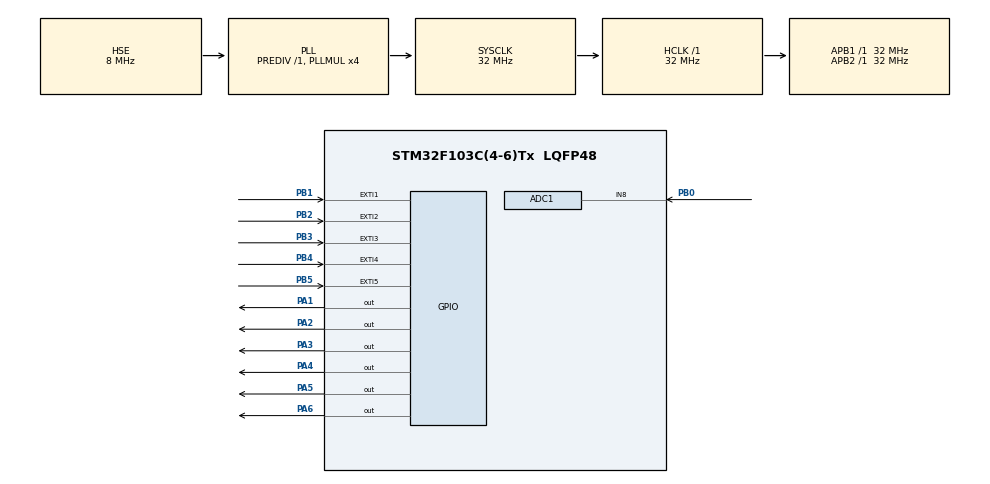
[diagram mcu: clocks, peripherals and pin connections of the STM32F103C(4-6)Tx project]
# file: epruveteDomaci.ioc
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ADC1.Channel-0\#ChannelRegularConversion=ADC_CHANNEL_8
ADC1.NbrOfConversionFlag=1
ADC1.Rank-0\#ChannelRegularConversion=1
ADC1.SamplingTime-0\#ChannelRegularConversion=ADC_SAMPLETIME_1CYCLE_5
ADC1.master=1
Mcu.Family=STM32F1
Mcu.Name=STM32F103C(4-6)Tx
Mcu.Package=LQFP48
NVIC.EXTI1_IRQn=true\:0\:0\:false\:false\:true\:true\:true\:true
NVIC.EXTI2_IRQn=true\:0\:0\:false\:false\:true\:true\:true\:true
NVIC.EXTI3_IRQn=true\:0\:0\:false\:false\:true\:true\:true\:true
NVIC.EXTI4_IRQn=true\:0\:0\:false\:false\:true\:true\:true\:true
NVIC.EXTI9_5_IRQn=true\:0\:0\:false\:false\:true\:true\:true\:true
NVIC.PriorityGroup=NVIC_PRIORITYGROUP_4
NVIC.TIM2_IRQn=true\:0\:0\:false\:false\:true\:true\:true\:true
NVIC.TIM3_IRQn=true\:0\:0\:false\:false\:true\:true\:true\:true
PA1.Signal=GPIO_Output
PA2.Signal=GPIO_Output
PA3.Signal=GPIO_Output
PA4.Signal=GPIO_Output
PA5.Signal=GPIO_Output
PA6.Signal=GPIO_Output
PB0.Signal=ADCx_IN8
PB1.Signal=GPXTI1
PB2.Signal=GPXTI2
PB3.Signal=GPXTI3
PB4.Signal=GPXTI4
PB5.Signal=GPXTI5
PD0-OSC_IN.Mode=HSE-External-Oscillator
PD0-OSC_IN.Signal=RCC_OSC_IN
PD1-OSC_OUT.Mode=HSE-External-Oscillator
PD1-OSC_OUT.Signal=RCC_OSC_OUT
ProjectManager.HeapSize=0x200
ProjectManager.StackSize=0x400
ProjectManager.TargetToolchain=STM32CubeIDE
RCC.ADCPresc=RCC_ADCPCLK2_DIV4
RCC.AHBFreq_Value=32000000
RCC.APB1Freq_Value=32000000
RCC.APB1TimFreq_Value=32000000
RCC.APB2Freq_Value=32000000
RCC.APB2TimFreq_Value=32000000
RCC.HCLKFreq_Value=32000000
RCC.PLLMUL=RCC_PLL_MUL4
RCC.PLLSourceVirtual=RCC_PLLSOURCE_HSE
RCC.SYSCLKFreq_VALUE=32000000
RCC.SYSCLKSource=RCC_SYSCLKSOURCE_PLLCLK
RCC.USBFreq_Value=32000000
SH.ADCx_IN8.0=ADC1_IN8,IN8
TIM2.AutoReloadPreload=TIM_AUTORELOAD_PRELOAD_ENABLE
TIM2.Period=1
TIM2.Prescaler=39
TIM3.AutoReloadPreload=TIM_AUTORELOAD_PRELOAD_ENABLE
TIM3.Period=6400
TIM3.Prescaler=10000
VP_TIM2_VS_ClockSourceINT.Mode=Internal
VP_TIM3_VS_ClockSourceINT.Mode=Internal
board=custom

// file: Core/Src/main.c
/* USER CODE BEGIN Header */
/**
  ******************************************************************************
  * @file           : main.c
  * @brief          : Main program body
  ******************************************************************************
  * @attention
  *
  * Copyright (c) 2023 STMicroelectronics.
  * All rights reserved.
  *
  * This software is licensed under terms that can be found in the LICENSE file
  * in the root directory of this software component.
  * If no LICENSE file comes with this software, it is provided AS-IS.
  *
  ******************************************************************************
  */
/* USER CODE END Header */
#include "main.h"

/* USER CODE BEGIN Includes */
#include "math.h"
/* USER CODE END Includes */

/* USER CODE BEGIN PD */
/*Pins redefinition*/
#define PLS1 GPIO_PIN_1
#define DIR1 GPIO_PIN_2
#define ENA1 GPIO_PIN_3
#define PLS2 GPIO_PIN_4
#define DIR2 GPIO_PIN_5
#define ENA2 GPIO_PIN_6

/*ADC related defines*/
#define ADC_RESOLUTION pow(2,12)
#define V_REF 3.3 //This is VDDA maximum VREF voltage according to datasheet

#define NUM_OF_EPRUVETE 10

/*For a 50 mm length, and 5mm per slot => 10*/
#define NUMBER_OF_SLOTS 10
/* USER CODE END PD */

ADC_HandleTypeDef hadc1;

TIM_HandleTypeDef htim2;
TIM_HandleTypeDef htim3;

/* USER CODE BEGIN PV */
enum Estate
{
	idle,
	heating,
	calibrating,
	locating,
	shifting
};

enum EtimerTask
{
	heatM_1,
	calibrateM_1,
	locateM_1CW,
	locateM_1CCW,
	M_2
};
enum Estate state=idle;
enum EtimerTask task;

/* Unesite zeljenu temperaturu*/
int userTemp=50;

int epr;

int arr[]={0,0,3,0,4,0,0,3,0,3};
int dirTemp=1;
int timerStarted=0;

int positionM2=0;
int position=0;
int toggleCounter=0;
int adcSemaphore=0;

int nearest=0;
int current=0;
int resetM_2=0;

/* USER CODE END PV */

void SystemClock_Config(void);
static void MX_GPIO_Init(void);
static void MX_ADC1_Init(void);
static void MX_TIM2_Init(void);
static void MX_TIM3_Init(void);

/* USER CODE BEGIN 0 */

/*Finding the closest in array related functions*/
int findClosest(int current,int epruveta, int* arr)
{
    int cLeft=current;
    int cRight=current;
    int moveTo=0;
    while(1)
        {
            if (arr[cLeft]==epruveta)
            {
                moveTo=cLeft;
                break;
            }
            else
            {
                cLeft--;
                cRight++;
                if (cLeft<0)
                    cLeft=NUM_OF_EPRUVETE-1;
                if (cRight>NUM_OF_EPRUVETE-1)
                    cRight=0;
                if (arr[cLeft]==epruveta)
                {
                    moveTo=cLeft;
                    break;
                }
                if (arr[cRight]==epruveta)
                {
                    moveTo=cRight;
                    break;
                }
            }
        }
    return moveTo;
}
int existsEpruveta(int epruveta,int *arr)
{
    for(int i=0; i< NUM_OF_EPRUVETE-1; i++)
        if(arr[i]==epruveta)
            return 0;
    return 1;
}
int doCCW(int current,int nearest)
{
    int distanceLeft=(current-nearest+NUM_OF_EPRUVETE)%NUM_OF_EPRUVETE;
    int distanceRight=(nearest-current+NUM_OF_EPRUVETE)%NUM_OF_EPRUVETE;
    if(distanceRight>distanceLeft)
        return 1;
    return 0;
}

double convertAdcToVolts(double adcVal)
{
	return adcVal*(V_REF/ADC_RESOLUTION);
}
double convertToCelsius(double V)
{
	return V*100;
}
void startMotor(int Dir,int motor)
{
	switch(motor)
	{
		case 1:
			HAL_GPIO_WritePin(GPIOA,ENA1|PLS1,GPIO_PIN_SET);
			HAL_Delay(3001); //ENA set at least 3s before seting the direction
			HAL_GPIO_WritePin(GPIOA,DIR1,Dir);
			HAL_Delay(1); //Dir set at least 5 microSec before falling edge of PULSE
			HAL_GPIO_WritePin(GPIOA,PLS1,GPIO_PIN_RESET);
			break;
		case 2:
			HAL_GPIO_WritePin(GPIOA,ENA2|PLS2,GPIO_PIN_SET);
			HAL_Delay(3001); //ENA set at least 3s before seting the direction
			HAL_GPIO_WritePin(GPIOA,DIR2,Dir);
			HAL_Delay(1); //Dir set at least 5 microSec before falling edge of PULSE
			HAL_GPIO_WritePin(GPIOA,PLS2,GPIO_PIN_RESET);
			break;

	}
}
void disableMotor(int motor)
{
	switch(motor)
	{
		case 1:
			HAL_GPIO_WritePin(GPIOA,ENA1|PLS1|DIR1,GPIO_PIN_RESET);
			break;
		case 2:
			HAL_GPIO_WritePin(GPIOA,ENA2|PLS2|DIR2,GPIO_PIN_RESET);
			break;
	}
}
void changeDirection(int motor, int dir)
{
	switch(motor)
	{
		case 1:
			HAL_GPIO_WritePin(GPIOA,PLS1, GPIO_PIN_RESET);
			HAL_Delay(1);
			HAL_GPIO_WritePin(GPIOA,PLS1, GPIO_PIN_SET);
			position++;
			HAL_Delay(1);
			HAL_GPIO_WritePin(GPIOA,DIR1, GPIO_PIN_SET);
			break;
		case 2:
			HAL_GPIO_WritePin(GPIOA,PLS2, GPIO_PIN_RESET);
			HAL_Delay(1);
			HAL_GPIO_WritePin(GPIOA,PLS2, GPIO_PIN_SET);
			positionM2++;
			HAL_Delay(1);
			HAL_GPIO_WritePin(GPIOA,DIR2, GPIO_PIN_SET);
			break;
	}
}
void HAL_GPIO_EXTI_Callback(uint16_t GPIO_Pin)
{
	switch(GPIO_Pin)
	{
		case GPIO_PIN_1:
			epr=0;
			break;
		case GPIO_PIN_2:
			epr=1;
			break;
		case GPIO_PIN_3:
			epr=2;
			break;
		case GPIO_PIN_4:
			epr=3;
			break;
		case GPIO_PIN_5:
			epr=4;
			break;
	}
	//If somebody presses a button the motor one activates in heating mode only if there exists more tubes in the system.
	if(existsEpruveta(epr,arr) && (state==idle))
		state=heating;
}
void HAL_TIM_PeriodElapsedCallback(TIM_HandleTypeDef *htim)
{
	if(htim==&htim2)
	{
		switch(task)
		{
			case heatM_1:
				HAL_GPIO_TogglePin(GPIOA,PLS1);
				toggleCounter++;
				if(toggleCounter%2==1)
					position++;
				if(position==200)
					position=0;
				break;
			case calibrateM_1:
				HAL_GPIO_TogglePin(GPIOA,PLS1);
				toggleCounter++;
				if (dirTemp)
				{
					if(toggleCounter%2==1)
						position++;
				}
				else
				{
					if(toggleCounter%2==1)
						position--;
				}
				break;
			case locateM_1CW:
				HAL_GPIO_TogglePin(GPIOA,PLS1);
				toggleCounter++;
				if(toggleCounter%2==1)
					position++;
				if(position==200)
					position=0;
				break;
			case locateM_1CCW:
				HAL_GPIO_TogglePin(GPIOA,PLS1);
				toggleCounter++;
				if(toggleCounter%2==1)
					position--;
				if(position<0)
					position=199;
				break;
			case M_2:
				HAL_GPIO_TogglePin(GPIOA,PLS2);
				toggleCounter++;
				if(toggleCounter%2==1)
					positionM2++;
				break;
		}
	}
	else if(htim==&htim3)
	{
		adcSemaphore=1;
	}
}

void heat()
{
	int temp;
	if(!timerStarted)
	{
		task=heatM_1;
		startMotor(1, 1);
		HAL_TIM_Base_Start_IT(&htim2);
		HAL_TIM_Base_Start_IT(&htim3);
		timerStarted=1;
	}
	if(adcSemaphore)
	{
		HAL_ADC_Start(&hadc1);
		if(!(HAL_ADC_GetState(&hadc1) & HAL_ADC_STATE_BUSY))
		{
			int voltsRaw = HAL_ADC_GetValue(&hadc1);
			int volts=convertAdcToVolts(voltsRaw);
			temp =convertToCelsius(volts);
		}

		if(temp>userTemp)
		{
			HAL_TIM_Base_Stop_IT(&htim2);
			HAL_TIM_Base_Stop_IT(&htim3);
			toggleCounter=0;
			disableMotor(1);
			state=calibrating;
			timerStarted=0;
			temp=0;
		}
		adcSemaphore=0;
	}
}
void calibrate()
{
	if(!timerStarted)
	{
		task=calibrateM_1;
		if (position>100)
		{
			startMotor(1, 1);
			dirTemp=1;
		}
		else
		{
			startMotor(1, 0);
			dirTemp=0;
		}
		HAL_TIM_Base_Start_IT(&htim2);
		timerStarted=1;
	}

	if (position%200==0)
	{
		HAL_TIM_Base_Stop_IT(&htim2);
		disableMotor(1);
		timerStarted=0;
		toggleCounter=0;
		position=0;
		state=locating;
	}
}
void locate()
{
	 if(!timerStarted)
	 {
		current=position/20;
	 	nearest=findClosest(current,epr,arr);
	 	if(current==nearest)
	 	{
	 		state=shifting;
	 	}
	 	else
	 	{
	 		if(doCCW(current,nearest))
				{
					startMotor(1, 0);
					dirTemp=0;
					task=locateM_1CCW;
				}
				else
				{
					startMotor(1, 1);
					dirTemp=1;
					task=locateM_1CW;
				}
			HAL_TIM_Base_Start_IT(&htim2);
			timerStarted=1;
	 	}
	 }
	 if(position/20==nearest && position%20==0)
	 {
		HAL_TIM_Base_Stop_IT(&htim2);
		disableMotor(1);
		timerStarted=0;
		toggleCounter=0;
		arr[nearest]=-10;
		state=shifting;
	 }
}
void shift()
{
	if(!timerStarted)
	{
		task=M_2;
		startMotor(1, 2); //START M_2
		HAL_TIM_Base_Start_IT(&htim2);
		timerStarted=1;
	}

	if(positionM2==NUMBER_OF_SLOTS)
	{
		HAL_TIM_Base_Stop_IT(&htim2);
		changeDirection(2,0);
		positionM2--;
		toggleCounter=0;
		HAL_TIM_Base_Start_IT(&htim2);
		resetM_2=1;
		if(existsEpruveta(epr,arr))
			state=locating;
		else
			state=idle;
	}
	if(resetM_2)
	{
		if(positionM2==0)
		{
			HAL_TIM_Base_Stop_IT(&htim2);
			timerStarted=0;
			disableMotor(2);
			toggleCounter=0;
			resetM_2=0;
			if(existsEpruveta(epr,arr))
				state=locating;
			else
				state=idle;
		}

	}

}

/* USER CODE END 0 */

int main(void)
{

  /* MCU Configuration--------------------------------------------------------*/

  /* Reset of all peripherals, Initializes the Flash interface and the Systick. */
  HAL_Init();

  /* Configure the system clock */
  SystemClock_Config();

  /* Initialize all configured peripherals */
  MX_GPIO_Init();
  MX_ADC1_Init();
  MX_TIM2_Init();
  MX_TIM3_Init();
  /* USER CODE BEGIN 2 */
  // Calibrate The ADC On Power-Up For Better Accuracy
  HAL_ADCEx_Calibration_Start(&hadc1);
  /* USER CODE END 2 */

  /* Infinite loop */
  while (1)
    {
  	  switch(state)
  	  {
  		  case idle:
  			  //Here something else could be done
  			  break;
  		  case heating:
  			  heat();
  			  break;
  		  case calibrating:
  			  calibrate();
  			  break;
  		  case locating:
  			  locate();
  			  break;
  		  case shifting:
  			  shift();
  			  break;
  	  }
    }
}

void SystemClock_Config(void)
{
  RCC_OscInitTypeDef RCC_OscInitStruct = {0};
  RCC_ClkInitTypeDef RCC_ClkInitStruct = {0};
  RCC_PeriphCLKInitTypeDef PeriphClkInit = {0};

  /** Initializes the RCC Oscillators according to the specified parameters
  * in the RCC_OscInitTypeDef structure.
  */
  RCC_OscInitStruct.OscillatorType = RCC_OSCILLATORTYPE_HSE;
  RCC_OscInitStruct.HSEState = RCC_HSE_ON;
  RCC_OscInitStruct.HSEPredivValue = RCC_HSE_PREDIV_DIV1;
  RCC_OscInitStruct.HSIState = RCC_HSI_ON;
  RCC_OscInitStruct.PLL.PLLState = RCC_PLL_ON;
  RCC_OscInitStruct.PLL.PLLSource = RCC_PLLSOURCE_HSE;
  RCC_OscInitStruct.PLL.PLLMUL = RCC_PLL_MUL4;
  if (HAL_RCC_OscConfig(&RCC_OscInitStruct) != HAL_OK)
  {
    Error_Handler();
  }

  /** Initializes the CPU, AHB and APB buses clocks
  */
  RCC_ClkInitStruct.ClockType = RCC_CLOCKTYPE_HCLK|RCC_CLOCKTYPE_SYSCLK
                              |RCC_CLOCKTYPE_PCLK1|RCC_CLOCKTYPE_PCLK2;
  RCC_ClkInitStruct.SYSCLKSource = RCC_SYSCLKSOURCE_PLLCLK;
  RCC_ClkInitStruct.AHBCLKDivider = RCC_SYSCLK_DIV1;
  RCC_ClkInitStruct.APB1CLKDivider = RCC_HCLK_DIV1;
  RCC_ClkInitStruct.APB2CLKDivider = RCC_HCLK_DIV1;

  if (HAL_RCC_ClockConfig(&RCC_ClkInitStruct, FLASH_LATENCY_1) != HAL_OK)
  {
    Error_Handler();
  }
  PeriphClkInit.PeriphClockSelection = RCC_PERIPHCLK_ADC;
  PeriphClkInit.AdcClockSelection = RCC_ADCPCLK2_DIV4;
  if (HAL_RCCEx_PeriphCLKConfig(&PeriphClkInit) != HAL_OK)
  {
    Error_Handler();
  }
}

static void MX_ADC1_Init(void)
{

  ADC_ChannelConfTypeDef sConfig = {0};

  /** Common config
  */
  hadc1.Instance = ADC1;
  hadc1.Init.ScanConvMode = ADC_SCAN_DISABLE;
  hadc1.Init.ContinuousConvMode = DISABLE;
  hadc1.Init.DiscontinuousConvMode = DISABLE;
  hadc1.Init.ExternalTrigConv = ADC_SOFTWARE_START;
  hadc1.Init.DataAlign = ADC_DATAALIGN_RIGHT;
  hadc1.Init.NbrOfConversion = 1;
  if (HAL_ADC_Init(&hadc1) != HAL_OK)
  {
    Error_Handler();
  }

  /** Configure Regular Channel
  */
  sConfig.Channel = ADC_CHANNEL_8;
  sConfig.Rank = ADC_REGULAR_RANK_1;
  sConfig.SamplingTime = ADC_SAMPLETIME_1CYCLE_5;
  if (HAL_ADC_ConfigChannel(&hadc1, &sConfig) != HAL_OK)
  {
    Error_Handler();
  }

}

static void MX_TIM2_Init(void)
{

  TIM_ClockConfigTypeDef sClockSourceConfig = {0};
  TIM_MasterConfigTypeDef sMasterConfig = {0};

  htim2.Instance = TIM2;
  htim2.Init.Prescaler = 39;
  htim2.Init.CounterMode = TIM_COUNTERMODE_UP;
  htim2.Init.Period = 1;
  htim2.Init.ClockDivision = TIM_CLOCKDIVISION_DIV1;
  htim2.Init.AutoReloadPreload = TIM_AUTORELOAD_PRELOAD_ENABLE;
  if (HAL_TIM_Base_Init(&htim2) != HAL_OK)
  {
    Error_Handler();
  }
  sClockSourceConfig.ClockSource = TIM_CLOCKSOURCE_INTERNAL;
  if (HAL_TIM_ConfigClockSource(&htim2, &sClockSourceConfig) != HAL_OK)
  {
    Error_Handler();
  }
  sMasterConfig.MasterOutputTrigger = TIM_TRGO_RESET;
  sMasterConfig.MasterSlaveMode = TIM_MASTERSLAVEMODE_DISABLE;
  if (HAL_TIMEx_MasterConfigSynchronization(&htim2, &sMasterConfig) != HAL_OK)
  {
    Error_Handler();
  }

}

static void MX_TIM3_Init(void)
{

  TIM_ClockConfigTypeDef sClockSourceConfig = {0};
  TIM_MasterConfigTypeDef sMasterConfig = {0};

  htim3.Instance = TIM3;
  htim3.Init.Prescaler = 10000;
  htim3.Init.CounterMode = TIM_COUNTERMODE_UP;
  htim3.Init.Period = 6400;
  htim3.Init.ClockDivision = TIM_CLOCKDIVISION_DIV1;
  htim3.Init.AutoReloadPreload = TIM_AUTORELOAD_PRELOAD_ENABLE;
  if (HAL_TIM_Base_Init(&htim3) != HAL_OK)
  {
    Error_Handler();
  }
  sClockSourceConfig.ClockSource = TIM_CLOCKSOURCE_INTERNAL;
  if (HAL_TIM_ConfigClockSource(&htim3, &sClockSourceConfig) != HAL_OK)
  {
    Error_Handler();
  }
  sMasterConfig.MasterOutputTrigger = TIM_TRGO_RESET;
  sMasterConfig.MasterSlaveMode = TIM_MASTERSLAVEMODE_DISABLE;
  if (HAL_TIMEx_MasterConfigSynchronization(&htim3, &sMasterConfig) != HAL_OK)
  {
    Error_Handler();
  }

}

static void MX_GPIO_Init(void)
{
  GPIO_InitTypeDef GPIO_InitStruct = {0};

  /* GPIO Ports Clock Enable */
  __HAL_RCC_GPIOD_CLK_ENABLE();
  __HAL_RCC_GPIOA_CLK_ENABLE();
  __HAL_RCC_GPIOB_CLK_ENABLE();

  /*Configure GPIO pin Output Level */
  HAL_GPIO_WritePin(GPIOA, GPIO_PIN_1|GPIO_PIN_2|GPIO_PIN_3|GPIO_PIN_4
                          |GPIO_PIN_5|GPIO_PIN_6, GPIO_PIN_RESET);

  /*Configure GPIO pins : PA1 PA2 PA3 PA4
                           PA5 PA6 */
  GPIO_InitStruct.Pin = GPIO_PIN_1|GPIO_PIN_2|GPIO_PIN_3|GPIO_PIN_4
                          |GPIO_PIN_5|GPIO_PIN_6;
  GPIO_InitStruct.Mode = GPIO_MODE_OUTPUT_PP;
  GPIO_InitStruct.Pull = GPIO_NOPULL;
  GPIO_InitStruct.Speed = GPIO_SPEED_FREQ_LOW;
  HAL_GPIO_Init(GPIOA, &GPIO_InitStruct);

  /*Configure GPIO pins : PB1 PB2 PB3 PB4
                           PB5 */
  GPIO_InitStruct.Pin = GPIO_PIN_1|GPIO_PIN_2|GPIO_PIN_3|GPIO_PIN_4
                          |GPIO_PIN_5;
  GPIO_InitStruct.Mode = GPIO_MODE_IT_RISING;
  GPIO_InitStruct.Pull = GPIO_NOPULL;
  HAL_GPIO_Init(GPIOB, &GPIO_InitStruct);

  /* EXTI interrupt init*/
  HAL_NVIC_SetPriority(EXTI1_IRQn, 0, 0);
  HAL_NVIC_EnableIRQ(EXTI1_IRQn);

  HAL_NVIC_SetPriority(EXTI2_IRQn, 0, 0);
  HAL_NVIC_EnableIRQ(EXTI2_IRQn);

  HAL_NVIC_SetPriority(EXTI3_IRQn, 0, 0);
  HAL_NVIC_EnableIRQ(EXTI3_IRQn);

  HAL_NVIC_SetPriority(EXTI4_IRQn, 0, 0);
  HAL_NVIC_EnableIRQ(EXTI4_IRQn);

  HAL_NVIC_SetPriority(EXTI9_5_IRQn, 0, 0);
  HAL_NVIC_EnableIRQ(EXTI9_5_IRQn);

}

void Error_Handler(void)
{
  __disable_irq();
  while (1)
  {
  }
}
